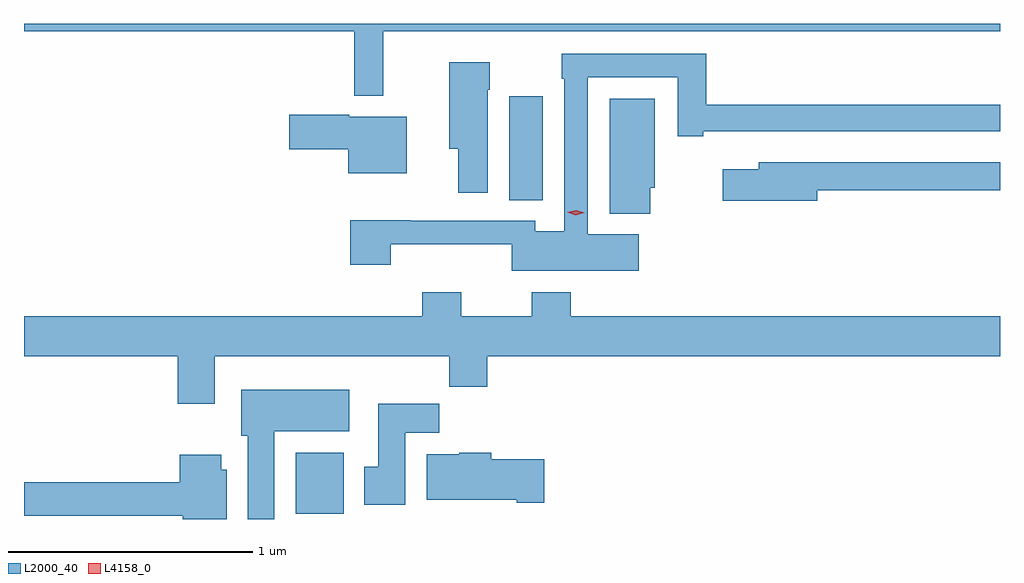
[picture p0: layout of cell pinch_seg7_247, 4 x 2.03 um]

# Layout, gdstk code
import gdstk
lib = gdstk.Library(unit=1e-6, precision=1e-09)
def R(c, l, rs):  # rectangles x0, y0, x1, y1
    for r in rs: c.add(gdstk.rectangle(r[:2], r[2:], *l))
def P(c, l, *ps):  # polygons
    for p in ps: c.add(gdstk.Polygon(p, *l))
L2000_40 = (2000, 40)
L4158_0 = (4158, 0)

pinch_seg7_247 = lib.new_cell('pinch_seg7_247')
R(pinch_seg7_247, L2000_40, [(814.713,1079.892,814.909,1080.142), (815.588,1081.177,815.725,1081.603)])
P(pinch_seg7_247, L2000_40, [(813.599,1081.868),(814.952,1081.868),(814.952,1081.605),(815.072,1081.605),(815.072,1081.868),(817.599,1081.868),(817.599,1081.9),(813.599,1081.9)],
  [(816.118,1081.036),(815.91,1081.036),(815.91,1081.68),(816.279,1081.68),(816.279,1081.438),(816.382,1081.438),(816.382,1081.458),(817.599,1081.458),(817.599,1081.567),(816.395,1081.567),(816.395,1081.776),(815.802,1081.776),(815.802,1081.673),(815.814,1081.673),(815.814,1081.048),(815.694,1081.048),(815.694,1081.092),(815.185,1081.092),(815.185,1081.094),(814.937,1081.094),(814.937,1080.912),(815.102,1080.912),(815.102,1080.995),(815.598,1080.995),(815.598,1080.887),(816.118,1080.887)],
  [(815.5,1081.628),(815.508,1081.628),(815.508,1081.741),(815.342,1081.741),(815.342,1081.388),(815.378,1081.388),(815.378,1081.206),(815.5,1081.206)],
  [(816.166,1081.227),(816.184,1081.227),(816.184,1081.591),(815.999,1081.591),(815.999,1081.121),(816.166,1081.121)],
  [(815.167,1081.519),(814.932,1081.519),(814.932,1081.526),(814.686,1081.526),(814.686,1081.385),(814.928,1081.385),(814.928,1081.286),(815.167,1081.286)],
  [(816.85,1081.216),(817.599,1081.216),(817.599,1081.332),(816.611,1081.332),(816.611,1081.303),(816.462,1081.303),(816.462,1081.174),(816.85,1081.174)],
  [(814.381,1080.536),(815.341,1080.536),(815.341,1080.412),(815.498,1080.412),(815.498,1080.536),(817.599,1080.536),(817.599,1080.7),(815.84,1080.7),(815.84,1080.799),(815.68,1080.799),(815.68,1080.7),(815.391,1080.7),(815.391,1080.799),(815.231,1080.799),(815.231,1080.7),(813.599,1080.7),(813.599,1080.536),(814.229,1080.536),(814.229,1080.342),(814.381,1080.342)],
  [(814.624,1080.23),(814.933,1080.23),(814.933,1080.4),(814.49,1080.4),(814.49,1080.21),(814.517,1080.21),(814.517,1079.868),(814.624,1079.868)],
  [(815.161,1080.224),(815.3,1080.224),(815.3,1080.342),(815.051,1080.342),(815.051,1080.084),(814.994,1080.084),(814.994,1079.928),(815.161,1079.928)],
  [(815.731,1080.114),(815.513,1080.114),(815.513,1080.142),(815.382,1080.142),(815.382,1080.136),(815.249,1080.136),(815.249,1079.948),(815.618,1079.948),(815.618,1079.936),(815.731,1079.936)],
  [(814.429,1080.072),(814.408,1080.072),(814.408,1080.133),(814.238,1080.133),(814.238,1080.02),(813.599,1080.02),(813.599,1079.884),(814.25,1079.884),(814.25,1079.868),(814.429,1079.868)])
P(pinch_seg7_247, L4158_0, [(815.861,1081.115),(815.826,1081.126),(815.826,1081.127),(815.826,1081.127),(815.862,1081.135),(815.896,1081.124),(815.896,1081.124),(815.896,1081.124)])

lib.write_gds('pinch_seg7_247.gds')
